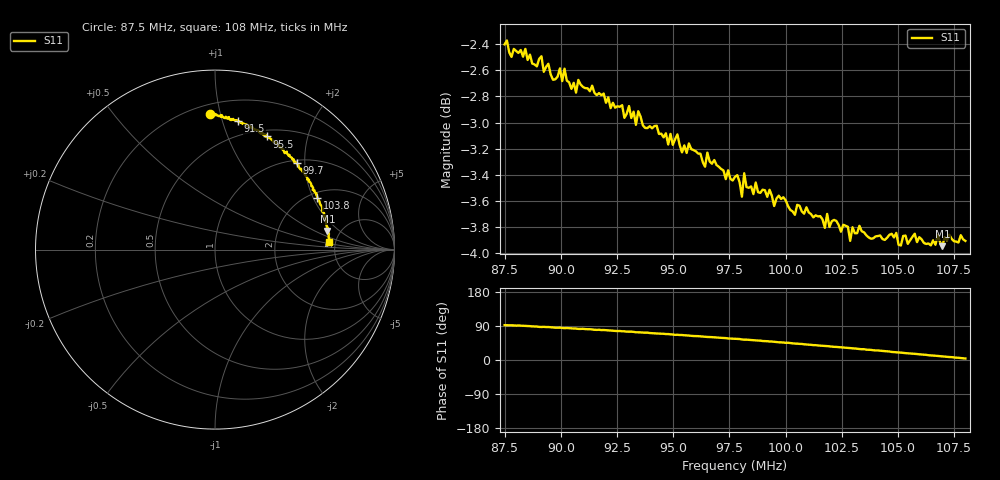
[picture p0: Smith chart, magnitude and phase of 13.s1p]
!Agilent Technologies,N5225A,MY51441201,A.09.90.19
!Agilent N5225A: A.09.90.19
!Date: Wednesday, April 25, 2018 14:33:05
!Correction: S11(Full 1 Port(1))
!S1P File: Measurement: S11:
# Hz S  dB  R 50
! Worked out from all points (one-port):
!   201 points, 87.5 MHz to 108 MHz, reference 50 ohm
!   lowest |S11| = -3.9 dB at 107 MHz (marker M1), VSWR 4.47, Z = 198 + j68.8 ohm
!   |S11| at or under -10 dB: nowhere
!   S11 on the Smith chart (normalised r, x): 87.5 MHz: 0.26, +0.93; 91.5 MHz: 0.37, +1.13; 95.5 MHz: 0.58, +1.40; 99.7 MHz: 1.06, +1.82; 103.8 MHz: 2.22, +2.15; 108 MHz: 4.41, +0.66
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8.75e7  -2.40 91.9
8.80125e7  -2.45 90.7
8.8115e7  -2.47 91.2
8.90375e7  -2.51 87.3
8.92425e7  -2.61 87.5
8.9755e7  -2.67 85.2
8.996e7  -2.58 85.4
9.00625e7  -2.68 84.8
9.078e7  -2.67 82.1
9.0985e7  -2.73 82.3
9.14975e7  -2.77 79.8
9.2625e7  -2.88 76.6
9.51875e7  -3.09 66.5
9.5495e7  -3.18 65.3
9.775e7  -3.42 56.1
9.7955e7  -3.46 55.4
9.80575e7  -3.57 54.2
9.816e7  -3.39 53.7
9.94925e7  -3.64 48.1
9.96975e7  -3.56 46.7
1.003125e8  -3.68 44.1
1.021575e8  -3.75 34.7
1.02875e8  -3.91 31.4
1.03285e8  -3.79 29.0
1.037975e8  -3.89 26.8
1.054375e8  -3.93 17.7
1.06975e8  -3.95 9.4
1.08e8  -3.91 4.0
